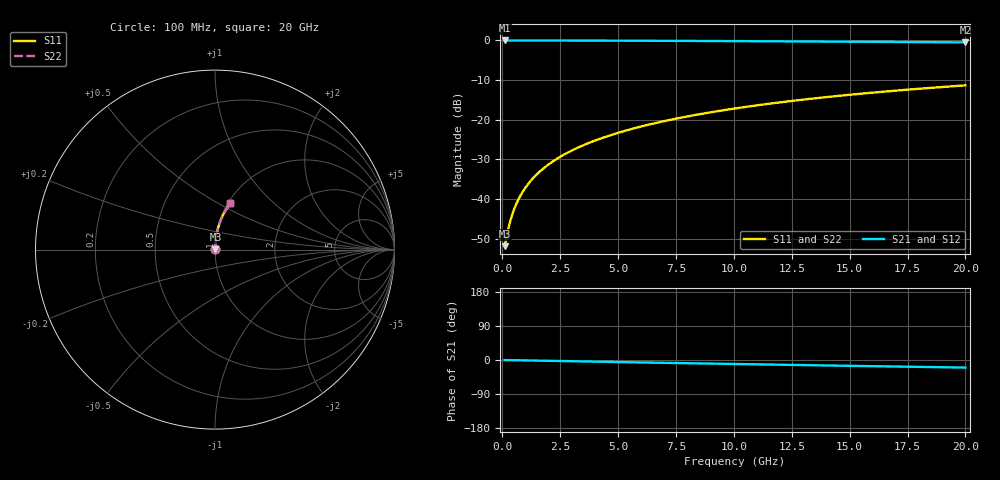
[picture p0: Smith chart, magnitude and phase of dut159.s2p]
! Touchstone file exported from HFSS 2024.1.0
!  File:  C:/UserFiles/LocalFiles/RDL_TSV_Batchsim/temp_RDL_top_159_1778685384.aedt
!  Generated:  11:18:54 PM May 13, 2026
!  Design:  RDL_top
!  Project:  temp_RDL_top_159_1778685384
!  Setup:  Setup1
!  Solution:  Sweep
! Variables:
!  dtsv = 10.80580581um
!  hbump = 3um
!  htsv = 70.64um
!  ldown = 100um
!  lrdl = 187.75um
!  p = 40
!  p1 = 58.94um
!  rhole = 1um
!  t = 450um
!  tdown = 3.915915916um
!  trdl = 2.59um
!  wdown = 15.38538539um
!  wrdl = 13.7um
# GHz S MA R 50.000000
! Terminal data exported
! Port[1] = Box2_T1
! Port[2] = Box2_T2
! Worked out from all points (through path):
!   200 points, 100 MHz to 20 GHz, reference 50 ohm
!   highest |S21| = -0.02 dB at 100 MHz (marker M1); lowest = -0.5 dB at 20 GHz (marker M2)
!   group delay of S21, straight-line fit = 2.78 ps
!   lowest |S11| = -51.9 dB at 100 MHz (marker M3), VSWR 1.01, Z = 50.2 + j0.14 ohm
!   |S11| at or under -10 dB: start of sweep to end of sweep
!   |S22| runs from -51.9 to -11.3 dB; largest |S21 - S12| = 3.7e-15
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0.1  0.002533 33.5  0.9979 -0.1  0.9979 -0.1  0.002533 33.5
! Gamma 0 0 0 0
! Port Impedance 50 0 50 0
0.2  0.003515 52.6  0.9979 -0.2  0.9979 -0.2  0.003515 52.6
0.3  0.004706 62.5  0.9978 -0.3  0.9978 -0.3  0.004706 62.5
0.4  0.005974 68.2  0.9978 -0.4  0.9978 -0.4  0.005974 68.2
0.5  0.007273 71.9  0.9977 -0.6  0.9977 -0.6  0.007273 71.9
0.6  0.008585 74.4  0.9977 -0.7  0.9977 -0.7  0.008585 74.4
0.8  0.01123 77.6  0.9975 -0.9  0.9975 -0.9  0.01123 77.6
1.1  0.01521 80.3  0.9973 -1.2  0.9973 -1.2  0.01521 80.3
1.5  0.02054 82.3  0.997 -1.6  0.997 -1.6  0.02054 82.3
1.8  0.02456 83.1  0.9968 -2.0  0.9968 -2.0  0.02456 83.1
2.1  0.02859 83.7  0.9965 -2.3  0.9965 -2.3  0.02859 83.7
2.7  0.0367 84.4  0.9958 -2.9  0.9958 -2.9  0.0367 84.4
3.5  0.04758 84.7  0.9947 -3.8  0.9947 -3.8  0.04758 84.7
4.2  0.05716 84.7  0.9935 -4.6  0.9935 -4.6  0.05716 84.7
5  0.06817 84.4  0.992 -5.4  0.992 -5.4  0.06817 84.4
5.9  0.08062 84.0  0.9901 -6.3  0.9901 -6.3  0.08062 84.0
6.8  0.09313 83.5  0.988 -7.3  0.988 -7.3  0.09313 83.5
8.3  0.114 82.4  0.9841 -8.8  0.9841 -8.8  0.114 82.4
10.1  0.1391 80.9  0.979 -10.6  0.979 -10.6  0.1391 80.9
13.4  0.1844 77.8  0.9683 -13.8  0.9683 -13.8  0.1844 77.8
16.7  0.2285 74.7  0.9564 -17.0  0.9564 -17.0  0.2285 74.7
20  0.2708 71.6  0.9434 -20.0  0.9434 -20.0  0.2708 71.6
